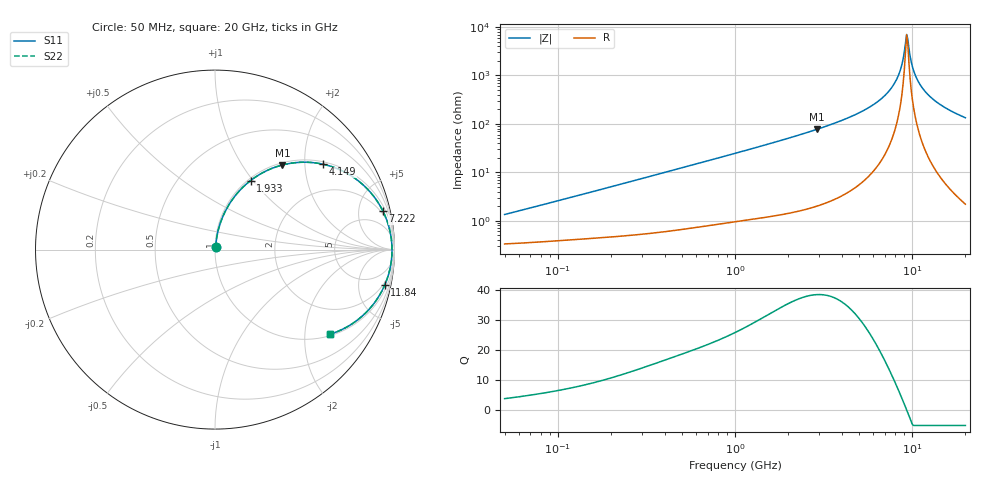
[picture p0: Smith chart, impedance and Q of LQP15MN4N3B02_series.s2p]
!Murata Part Number: LQP15MN4N3B02
!These Parameters are Measured in Series Mode Connection
!  o--[Z]--o
!Port1  Port2
!  o-------o
!Freq. Start=50[MHz] Stop=20[GHz], 401[Steps]
# Hz S RI R 50
!Freq.(Hz) S11(Real) S11(Imag) S21(Real) S21(Imag) S12(Real) S12(Imag) S22(Real) S22(Imag)
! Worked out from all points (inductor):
!   401 points, 50 MHz to 20 GHz, reference 50 ohm
!   read as one part in series: L = 4.12 nH near 51.52 MHz
!   highest Q = 38.6 at 2.896 GHz (marker M1), where L = 4.23 nH
!   self-resonance near 9.317 GHz
!   S11 on the Smith chart (normalised r, x): 50 MHz: 1.01, +0.03; 1.933 GHz: 1.03, +0.97; 4.149 GHz: 1.07, +2.48; 7.222 GHz: 1.57, +8.57; 11.84 GHz: 1.58, -9.35; 20 GHz: 1.04, -2.68
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5e7  0.00347 0.0129  0.9965 -0.0129  0.9965 -0.0129  0.00347 0.0129
1.364002e8  0.00533 0.0342  0.9947 -0.0342  0.9947 -0.0342  0.00533 0.0342
3.721004e8  0.014 0.0905  0.986 -0.0905  0.986 -0.0905  0.014 0.0905
1e9  0.0648 0.2277  0.9352 -0.2277  0.9352 -0.2277  0.0648 0.2277
1.932977e9  0.1983 0.3847  0.8017 -0.3847  0.8017 -0.3847  0.1983 0.3847
2.728004e9  0.3434 0.462  0.6566 -0.462  0.6566 -0.462  0.3434 0.462
2.896447e9  0.3754 0.4714  0.6246 -0.4714  0.6246 -0.4714  0.3754 0.4714
4.149438e9  0.6033 0.4753  0.3967 -0.4753  0.3967 -0.4753  0.6033 0.4753
5.769027e9  0.8238 0.362  0.1762 -0.362  0.1762 -0.362  0.8238 0.362
7.222371e9  0.9358 0.2142  0.0642 -0.2142  0.0642 -0.2142  0.9358 0.2142
7.442007e9  0.9465 0.191  0.0535 -0.191  0.0535 -0.191  0.9465 0.191
8.389408e9  0.9769 0.0929  0.0231 -0.0929  0.0231 -0.0929  0.9769 0.0929
8.774992e9  0.9829 0.0545  0.0171 -0.0545  0.0171 -0.0545  0.9829 0.0545
9.178299e9  0.9859 0.0156  0.0141 -0.0156  0.0141 -0.0156  0.9859 0.0156
9.316812e9  0.9862 0.00263  0.0138 -0.00263  0.0138 -0.00263  0.9862 0.00263
9.600142e9  0.9858 -0.0234  0.0142 0.0234  0.0142 0.0234  0.9858 -0.0234
9.892087e9  0.984 -0.0493  0.016 0.0493  0.016 0.0493  0.984 -0.0493
1.034674e10  0.9787 -0.0879  0.0213 0.0879  0.0213 0.0879  0.9787 -0.0879
1.098561e10  0.967 -0.1383  0.033 0.1383  0.033 0.1383  0.967 -0.1383
1.183995e10  0.9452 -0.1988  0.0548 0.1988  0.0548 0.1988  0.9452 -0.1988
1.482269e10  0.8388 -0.3532  0.1612 0.3532  0.1612 0.3532  0.8388 -0.3532
2e10  0.6399 -0.4719  0.3601 0.4719  0.3601 0.4719  0.6399 -0.4719
